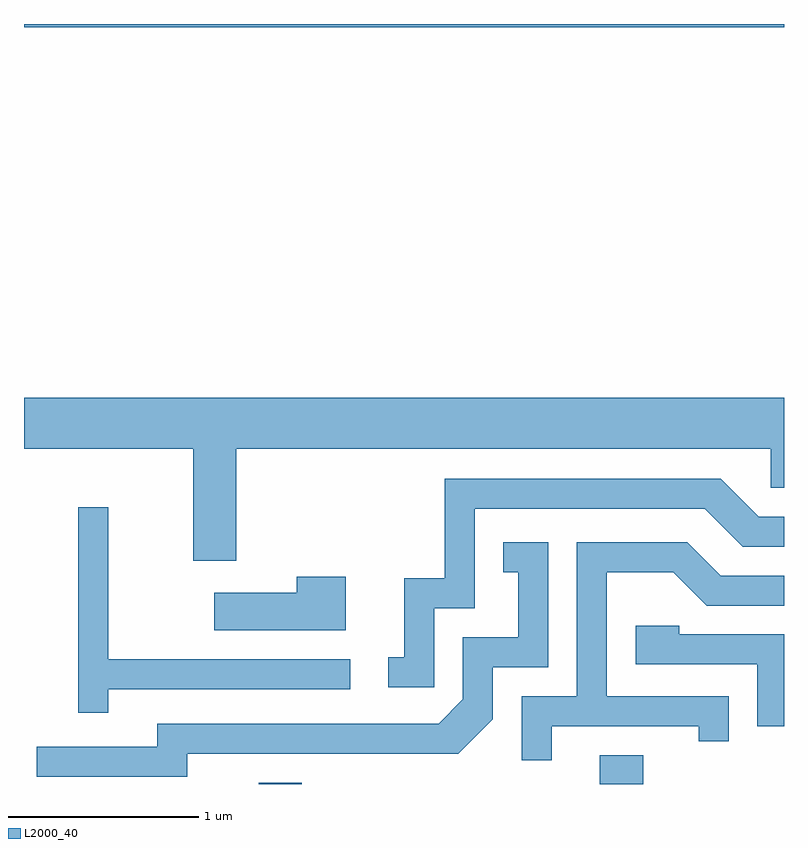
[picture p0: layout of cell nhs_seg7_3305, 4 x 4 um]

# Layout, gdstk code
import gdstk
lib = gdstk.Library(unit=1e-6, precision=1e-09)
def R(c, l, rs):  # rectangles x0, y0, x1, y1
    for r in rs: c.add(gdstk.rectangle(r[:2], r[2:], *l))
def P(c, l, *ps):  # polygons
    for p in ps: c.add(gdstk.Polygon(p, *l))
L2000_40 = (2000, 40)

nhs_seg7_3305 = lib.new_cell('nhs_seg7_3305')
R(nhs_seg7_3305, L2000_40, [(286.846,1790.252,287.074,1790.259), (288.641,1790.252,288.869,1790.404), (285.611,1794.236,289.611,1794.252)])
P(nhs_seg7_3305, L2000_40, [(286.729,1792.016),(289.541,1792.016),(289.541,1791.811),(289.611,1791.811),(289.611,1792.284),(285.611,1792.284),(285.611,1792.016),(286.501,1792.016),(286.501,1791.426),(286.729,1791.426)],
  [(287.769,1791.176),(287.984,1791.176),(287.984,1791.701),(289.194,1791.701),(289.394,1791.501),(289.611,1791.501),(289.611,1791.659),(289.477,1791.659),(289.277,1791.859),(287.826,1791.859),(287.826,1791.334),(287.611,1791.334),(287.611,1790.919),(287.528,1790.919),(287.528,1790.761),(287.769,1790.761)],
  [(286.054,1790.751),(287.328,1790.751),(287.328,1790.909),(286.054,1790.909),(286.054,1791.708),(285.896,1791.708),(285.896,1790.628),(286.054,1790.628)],
  [(288.389,1790.556),(289.161,1790.556),(289.161,1790.478),(289.319,1790.478),(289.319,1790.714),(288.679,1790.714),(288.679,1791.366),(289.029,1791.366),(289.204,1791.191),(289.611,1791.191),(289.611,1791.349),(289.277,1791.349),(289.102,1791.524),(288.521,1791.524),(288.521,1790.714),(288.231,1790.714),(288.231,1790.378),(288.389,1790.378)],
  [(286.469,1790.411),(287.897,1790.411),(288.079,1790.594),(288.079,1790.866),(288.369,1790.866),(288.369,1791.524),(288.133,1791.524),(288.133,1791.366),(288.211,1791.366),(288.211,1791.024),(287.921,1791.024),(287.921,1790.697),(287.794,1790.569),(286.311,1790.569),(286.311,1790.449),(285.678,1790.449),(285.678,1790.291),(286.469,1790.291)],
  [(287.304,1791.344),(287.046,1791.344),(287.046,1791.259),(286.611,1791.259),(286.611,1791.061),(287.304,1791.061)],
  [(289.611,1791.039),(289.059,1791.039),(289.059,1791.084),(288.831,1791.084),(288.831,1790.881),(289.471,1790.881),(289.471,1790.556),(289.611,1790.556)])

lib.write_gds('nhs_seg7_3305.gds')
